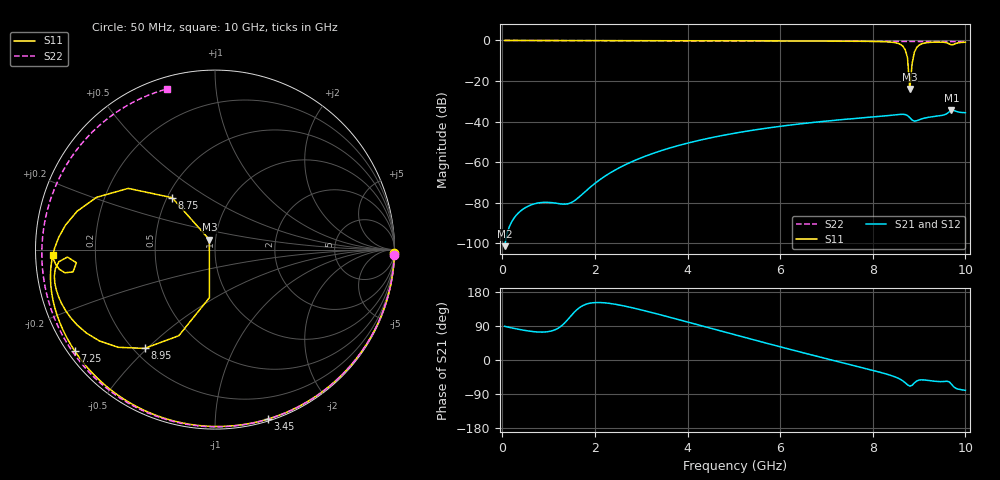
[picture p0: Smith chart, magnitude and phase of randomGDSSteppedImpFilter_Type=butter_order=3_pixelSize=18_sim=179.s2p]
! freq	dB(S11)	phase(S11)	dB(S12)	phase(S12)
!  dB(S21)	phase(S21)	dB(S22)	phase(S22)
!S-par simulation data
#  GHz  S  DB  R 50
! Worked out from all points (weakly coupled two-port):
!   200 points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, 50 MHz to 10 GHz, reference 50 ohm
!   highest |S21| = -34.47 dB at 9.7 GHz (marker M1); lowest = -101.4 dB at 50 MHz (marker M2)
!   lowest |S11| = -23.9 dB at 8.8 GHz (marker M3), VSWR 1.14, Z = 46.7 + j5.22 ohm
!   |S11| at or under -10 dB: 8.755 GHz to 8.862 GHz (107.3 MHz wide, 1.22 % of centre)
!   |S22| runs from -0.6 to 0.0 dB; largest |S21 - S12| = 0
!   S11 on the Smith chart (normalised r, x): 50 MHz: open; 3.45 GHz: 0.02, -1.36; 7.25 GHz: 0.02, -0.32; 8.75 GHz: 0.53, +0.36; 8.95 GHz: 0.24, -0.49; 10 GHz: 0.05, -0.02
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0.05  -0.00 -1.1  -101.44 88.9  -101.44 88.9  -0.00 -1.6
1.45  -0.04 -31.6  -80.33 111.8  -80.33 111.8  -0.06 -45.0
1.75  -0.05 -38.0  -75.35 144.2  -75.35 144.2  -0.07 -53.9
2.45  -0.07 -52.6  -63.72 146.9  -63.72 146.9  -0.09 -73.8
3.4  -0.09 -71.7  -54.56 119.8  -54.56 119.8  -0.12 -98.9
3.45  -0.10 -72.7  -54.20 118.2  -54.20 118.2  -0.12 -100.1
5.05  -0.16 -103.0  -45.60 65.6  -45.60 65.6  -0.19 -138.2
6.7  -0.26 -133.4  -40.45 12.7  -40.45 12.7  -0.30 -174.7
7.25  -0.32 -144.1  -39.21 -4.3  -39.21 -4.3  -0.34 173.1
8.35  -0.75 -174.6  -37.00 -39.1  -37.00 -39.1  -0.43 148.1
8.6  -1.97 164.5  -36.45 -51.3  -36.45 -51.3  -0.45 142.2
8.7  -4.56 144.8  -36.55 -60.0  -36.55 -60.0  -0.46 139.8
8.75  -8.52 129.6  -37.04 -65.3  -37.04 -65.3  -0.47 138.6
8.8  -23.88 119.6  -38.07 -68.8  -38.07 -68.8  -0.47 137.4
8.85  -11.39 -96.6  -39.28 -66.7  -39.28 -66.7  -0.48 136.2
8.9  -5.67 -112.8  -39.78 -60.3  -39.78 -60.3  -0.48 135.0
8.95  -3.40 -125.5  -39.55 -55.3  -39.55 -55.3  -0.49 133.7
9.05  -1.72 -141.6  -38.72 -52.3  -38.72 -52.3  -0.50 131.3
9.25  -0.92 -158.0  -37.72 -54.7  -37.72 -54.7  -0.51 126.3
9.55  -0.94 -173.0  -36.63 -56.5  -36.63 -56.5  -0.55 118.7
9.7  -2.21 -174.6  -34.47 -63.9  -34.47 -63.9  -0.56 114.8
10  -0.86 -177.9  -35.64 -79.9  -35.64 -79.9  -0.59 106.8
